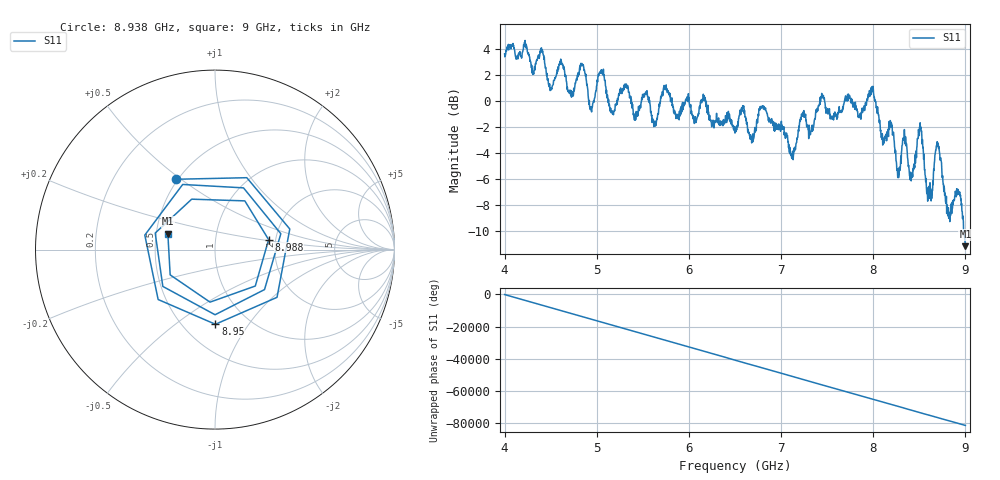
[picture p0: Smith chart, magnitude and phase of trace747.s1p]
! Created with skrf 1.8.0 (http://scikit-rf.org).
# Hz S RI R 50.0
!freq ReS11 ImS11
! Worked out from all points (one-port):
!   1601 points, 4 GHz to 9 GHz, reference 50 ohm
!   lowest |S11| = -11.1 dB at 9 GHz (marker M1), VSWR 1.77, Z = 28.8 + j5.6 ohm
!   |S11| at or under -10 dB: 8.980418 GHz to 8.983291 GHz (2.873 MHz wide, 0.032 % of centre); 8.984572 GHz to end of sweep
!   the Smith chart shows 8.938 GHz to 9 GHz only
!   S11 on the Smith chart (normalised r, x): 8.938 GHz: 0.49, +0.48; 8.95 GHz: 0.71, -0.71; 8.988 GHz: 1.83, +0.22; 9 GHz: 0.58, +0.11
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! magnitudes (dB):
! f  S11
! 4 GHz  3.7
! 4.406 GHz  4.0
! 4.5 GHz  1.0
! 4.625 GHz  2.8
! 4.722 GHz  0.8
! 4.847 GHz  2.8
! 4.938 GHz  -0.5
! 5.047 GHz  2.3
! 5.162 GHz  -0.8
! 5.25 GHz  0.9
! 5.875 GHz  -1.2
! 6.5 GHz  -2.4
! 6.806 GHz  -0.3
! 7.125 GHz  -3.8
! 7.234 GHz  -0.9
! 7.75 GHz  0.2
! 7.991 GHz  0.8
! 8.272 GHz  -5.5
! 8.375 GHz  -4.4
! 8.425 GHz  -5.6
! 8.509 GHz  -1.6
! 8.603 GHz  -6.5
! 8.697 GHz  -3.5
! 8.812 GHz  -8.2
! 8.938 GHz  -7.0
! 8.95 GHz  -7.6
! 8.988 GHz  -10.3
! 9 GHz  -11.1
